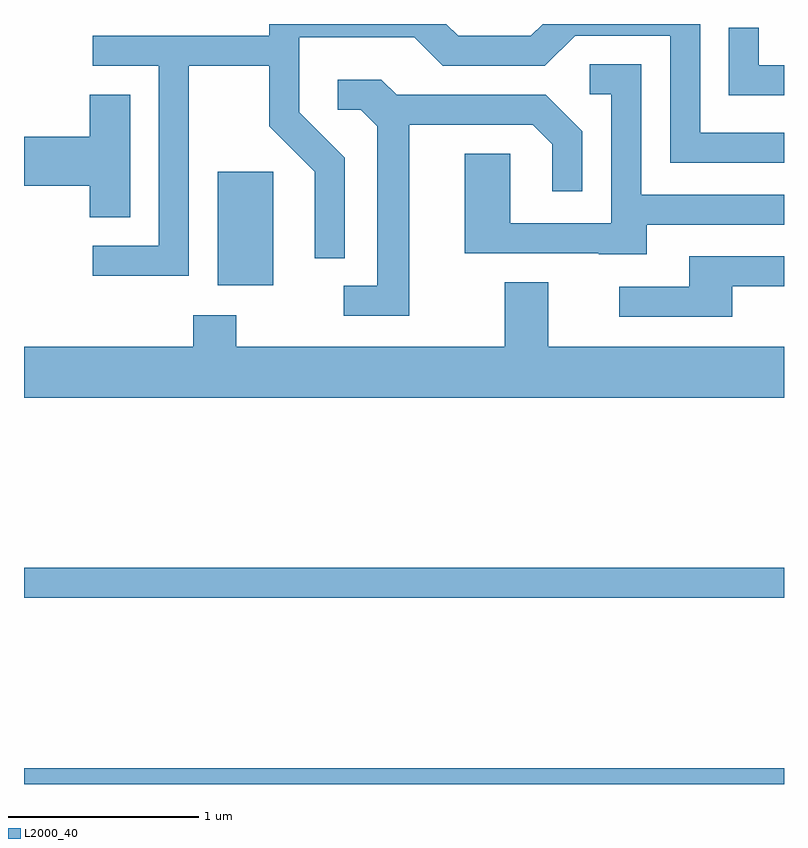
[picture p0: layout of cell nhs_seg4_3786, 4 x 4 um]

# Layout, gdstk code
import gdstk
lib = gdstk.Library(unit=1e-6, precision=1e-09)
def R(c, l, rs):  # rectangles x0, y0, x1, y1
    for r in rs: c.add(gdstk.rectangle(r[:2], r[2:], *l))
def P(c, l, *ps):  # polygons
    for p in ps: c.add(gdstk.Polygon(p, *l))
L2000_40 = (2000, 40)

nhs_seg4_3786 = lib.new_cell('nhs_seg4_3786')
R(nhs_seg4_3786, L2000_40, [(295.611,1345.982,299.611,1346.064), (295.611,1346.961,299.611,1347.119), (296.631,1348.606,296.924,1349.204)])
P(nhs_seg4_3786, L2000_40, [(296.479,1349.761),(296.901,1349.761),(296.901,1349.444),(297.141,1349.204),(297.141,1348.748),(297.299,1348.748),(297.299,1349.277),(297.059,1349.517),(297.059,1349.911),(297.664,1349.911),(297.814,1349.761),(298.352,1349.761),(298.512,1349.921),(299.011,1349.921),(299.011,1349.251),(299.611,1349.251),(299.611,1349.409),(299.169,1349.409),(299.169,1349.982),(298.342,1349.982),(298.279,1349.919),(297.897,1349.919),(297.834,1349.982),(296.901,1349.982),(296.901,1349.919),(295.973,1349.919),(295.973,1349.761),(296.321,1349.761),(296.321,1348.814),(295.973,1348.814),(295.973,1348.656),(296.479,1348.656)],
  [(299.611,1349.764),(299.479,1349.764),(299.479,1349.963),(299.321,1349.963),(299.321,1349.606),(299.611,1349.606)],
  [(298.889,1348.926),(299.611,1348.926),(299.611,1349.084),(298.859,1349.084),(298.859,1349.769),(298.588,1349.769),(298.588,1349.611),(298.701,1349.611),(298.701,1348.934),(298.169,1348.934),(298.169,1349.299),(297.931,1349.299),(297.931,1348.776),(298.635,1348.776),(298.635,1348.771),(298.889,1348.771)],
  [(297.639,1349.451),(298.289,1349.451),(298.391,1349.349),(298.391,1349.103),(298.549,1349.103),(298.549,1349.417),(298.357,1349.609),(297.572,1349.609),(297.492,1349.689),(297.263,1349.689),(297.263,1349.531),(297.384,1349.531),(297.471,1349.444),(297.471,1348.604),(297.293,1348.604),(297.293,1348.446),(297.639,1348.446)],
  [(296.169,1349.609),(295.956,1349.609),(295.956,1349.389),(295.611,1349.389),(295.611,1349.131),(295.956,1349.131),(295.956,1348.966),(296.169,1348.966)],
  [(299.339,1348.601),(299.611,1348.601),(299.611,1348.759),(299.111,1348.759),(299.111,1348.599),(298.743,1348.599),(298.743,1348.441),(299.339,1348.441)],
  [(299.611,1348.284),(298.369,1348.284),(298.369,1348.624),(298.141,1348.624),(298.141,1348.284),(296.729,1348.284),(296.729,1348.449),(296.501,1348.449),(296.501,1348.284),(295.611,1348.284),(295.611,1348.016),(299.611,1348.016)])

lib.write_gds('nhs_seg4_3786.gds')
